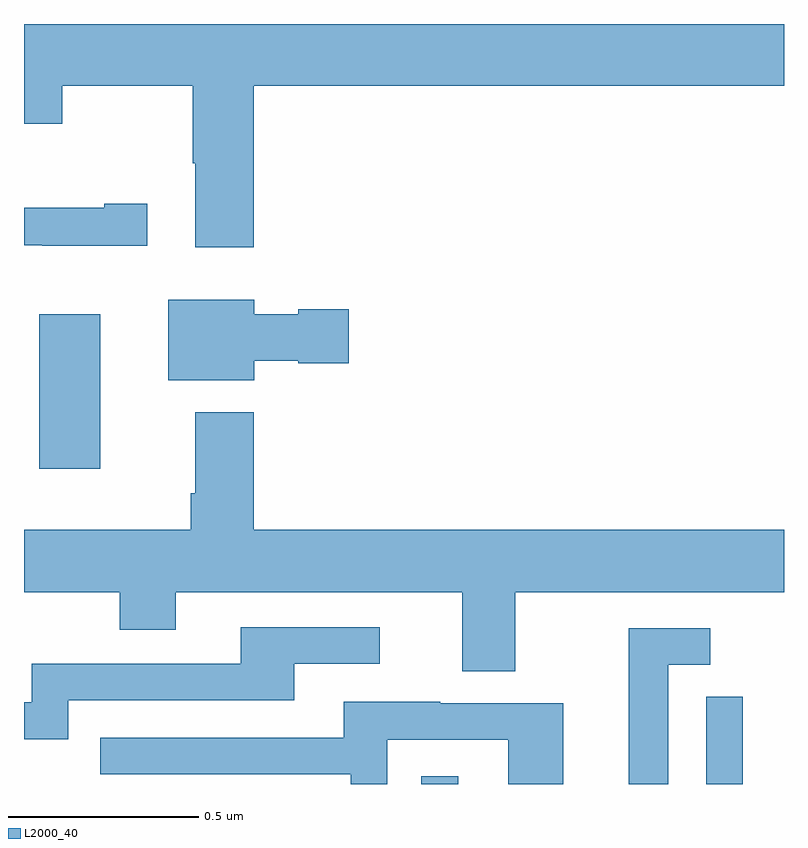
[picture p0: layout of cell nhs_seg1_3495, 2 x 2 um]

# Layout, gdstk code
import gdstk
lib = gdstk.Library(unit=1e-6, precision=1e-09)
def R(c, l, rs):  # rectangles x0, y0, x1, y1
    for r in rs: c.add(gdstk.rectangle(r[:2], r[2:], *l))
def P(c, l, *ps):  # polygons
    for p in ps: c.add(gdstk.Polygon(p, *l))
L2000_40 = (2000, 40)

nhs_seg1_3495 = lib.new_cell('nhs_seg1_3495')
R(nhs_seg1_3495, L2000_40, [(155.046,579.199,155.143,579.22), (154.04,580.029,154.201,580.435)])
P(nhs_seg1_3495, L2000_40, [(154.604,581.036),(156,581.036),(156,581.199),(154,581.199),(154,580.937),(154.101,580.937),(154.101,581.036),(154.444,581.036),(154.444,580.832),(154.451,580.832),(154.451,580.611),(154.604,580.611)],
  [(154.324,580.726),(154.211,580.726),(154.211,580.716),(154,580.716),(154,580.617),(154.048,580.617),(154.048,580.616),(154.324,580.616)],
  [(154.606,580.313),(154.722,580.313),(154.722,580.306),(154.855,580.306),(154.855,580.448),(154.722,580.448),(154.722,580.435),(154.606,580.435),(154.606,580.474),(154.379,580.474),(154.379,580.262),(154.606,580.262)],
  [(155.293,579.704),(156,579.704),(156,579.868),(154.604,579.868),(154.604,580.177),(154.451,580.177),(154.451,579.964),(154.439,579.964),(154.439,579.868),(154,579.868),(154,579.704),(154.252,579.704),(154.252,579.605),(154.399,579.605),(154.399,579.704),(155.153,579.704),(155.153,579.496),(155.293,579.496)],
  [(154.116,579.42),(154.711,579.42),(154.711,579.516),(154.936,579.516),(154.936,579.612),(154.571,579.612),(154.571,579.516),(154.02,579.516),(154.02,579.414),(154,579.414),(154,579.317),(154.116,579.317)],
  [(155.695,579.513),(155.806,579.513),(155.806,579.609),(155.591,579.609),(155.591,579.199),(155.695,579.199)],
  [(155.891,579.274),(155.892,579.274),(155.892,579.428),(155.796,579.428),(155.796,579.199),(155.891,579.199)],
  [(154.956,579.315),(155.274,579.315),(155.274,579.199),(155.419,579.199),(155.419,579.411),(155.095,579.411),(155.095,579.415),(154.841,579.415),(154.841,579.321),(154.201,579.321),(154.201,579.225),(154.86,579.225),(154.86,579.199),(154.956,579.199)])

lib.write_gds('nhs_seg1_3495.gds')
